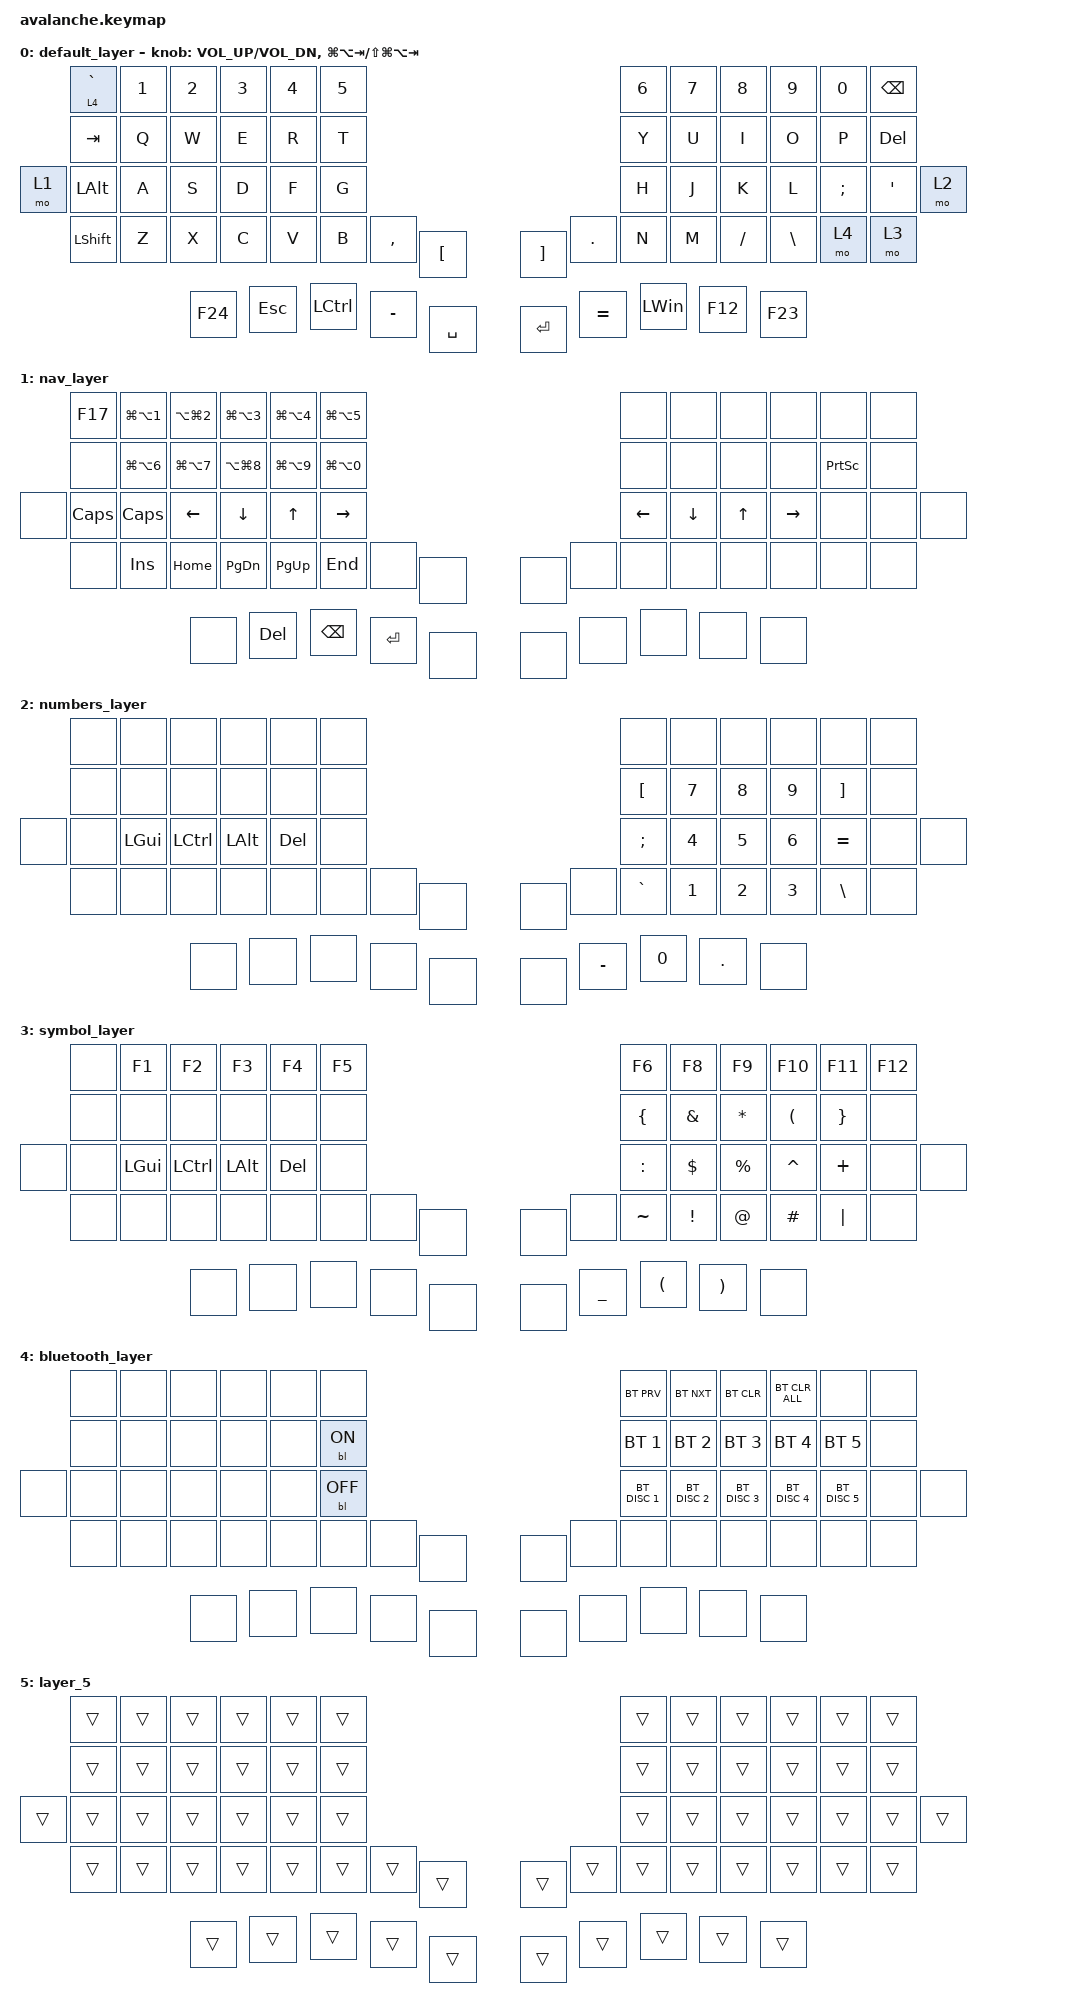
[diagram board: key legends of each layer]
#include <behaviors.dtsi>
#include <dt-bindings/zmk/backlight.h>
#include <dt-bindings/zmk/bt.h>
#include <dt-bindings/zmk/keys.h>

/ {
    behaviors {
        tdlayer: tdlayer {
            compatible = "zmk,behavior-hold-tap";
            #binding-cells = <2>;
            label = "tdlayer";
            bindings = <&mo>, <&kp>;

            tapping-term-ms = <125>;
        };

        volknob: volknob {
            compatible = "zmk,behavior-sensor-rotate";
            label = "VOLKNOB";
            #sensor-binding-cells = <0>;
            bindings = <&kp C_VOLUME_UP>, <&kp C_VOLUME_DOWN>;
        };
    };

    keymap {
        compatible = "zmk,keymap";

        /*
        &none  &none  &none  &none  &none  &none                                   &none  &none  &none  &none  &none  &none 
// ------------------------------------------------------------------------------------------------------------------------------------------------------------------------------------
        &none  &none  &none  &none  &none  &none                                   &none  &none  &none  &none  &none  &none 
// ------------------------------------------------------------------------------------------------------------------------------------------------------------------------------------
&none  &none  &none  &none  &none  &none  &none                                   &none  &none  &none  &none  &none  &none  &none 
// ------------------------------------------------------------------------------------------------------------------------------------------------------------------------------------
        &none  &none  &none  &none  &none  &none  &none  &none    &none &none  &none  &none  &none  &none  &none  &none 
// ------------------------------------------------------------------------------------------------------------------------------------------------------------------------------------
                                &none  &none  &none  &none  &none    &none &none  &none  &none  &none
*/

        default_layer {
            bindings = <
&tdlayer 4 GRAVE  &kp N1  &kp N2  &kp N3  &kp N4  &kp N5  &kp N6  &kp N7  &kp N8  &kp N9  &kp N0  &kp BACKSPACE  &kp TAB  &kp Q  &kp W  &kp E  &kp R  &kp T  &kp Y  &kp U  &kp I  &kp O  &kp P  &kp DEL  &mo 1  &kp LEFT_ALT  &kp A  &kp S  &kp D  &kp F  &kp G  &kp H  &kp J  &kp K  &kp L  &kp SEMI  &kp APOS  &mo 2  &kp LSHIFT  &kp Z  &kp X  &kp C  &kp V  &kp B  &kp COMMA  &kp LEFT_BRACKET  &kp RBKT  &kp PERIOD  &kp N  &kp M  &kp SLASH  &kp BACKSLASH  &mo 4  &mo 3  &kp F24  &kp ESCAPE  &kp LEFT_CONTROL  &kp MINUS  &kp SPACE  &kp RET  &kp EQUAL  &kp LEFT_WIN  &kp F12  &kp F23
            >;

            sensor-bindings = <&inc_dec_kp C_VOL_UP C_VOL_DN &inc_dec_kp LG(LA(TAB)) LS(LG(LA(TAB)))>;
        };

        nav_layer {
            bindings = <
&kp F17  &kp LG(LA(NUMBER_1))  &kp LA(LG(NUMBER_2))  &kp LG(LA(NUMBER_3))  &kp LG(LA(NUMBER_4))  &kp LG(LA(N5))  &none  &none  &none  &none  &none  &none  &none  &kp LG(LA(NUMBER_6))  &kp LG(LA(N7))  &kp LA(LG(N8))  &kp LG(LA(N9))  &kp LG(LA(N0))  &none  &none  &none  &none  &kp PRINTSCREEN  &none  &none  &kp CAPS  &kp CAPSLOCK  &kp LEFT  &kp DOWN  &kp UP  &kp RIGHT  &kp LEFT  &kp DOWN  &kp UP_ARROW  &kp RIGHT  &none  &none  &none  &none  &kp INSERT  &kp HOME  &kp PAGE_DOWN  &kp PAGE_UP  &kp END  &none  &none  &none  &none  &none  &none  &none  &none  &none  &none  &none  &kp DELETE  &kp BACKSPACE  &kp ENTER  &none  &none  &none  &none  &none  &none
            >;
        };

        numbers_layer {
            bindings = <
&none  &none  &none  &none  &none  &none  &none  &none  &none  &none  &none  &none  &none  &none  &none  &none  &none  &none  &kp LBKT  &kp N7  &kp N8  &kp N9  &kp RBKT  &none  &none  &none  &kp LEFT_GUI  &kp LEFT_CONTROL  &kp LEFT_ALT  &kp DELETE  &none  &kp SEMI  &kp N4  &kp N5  &kp N6  &kp EQUAL  &none  &none  &none  &none  &none  &none  &none  &none  &none  &none  &none  &none  &kp GRAVE  &kp N1  &kp N2  &kp N3  &kp BSLH  &none  &none  &none  &none  &none  &none  &none  &kp MINUS  &kp N0  &kp DOT  &none
            >;
        };

        symbol_layer {
            bindings = <
&none  &kp F1  &kp F2  &kp F3  &kp F4  &kp F5  &kp F6  &kp F8  &kp F9  &kp F10  &kp F11  &kp F12  &none  &none  &none  &none  &none  &none  &kp LEFT_BRACE  &kp AMPERSAND  &kp ASTERISK  &kp LEFT_PARENTHESIS  &kp RIGHT_BRACE  &none  &none  &none  &kp LGUI  &kp LCTRL  &kp LALT  &kp DELETE  &none  &kp COLON  &kp DOLLAR  &kp PERCENT  &kp CARET  &kp PLUS  &none  &none  &none  &none  &none  &none  &none  &none  &none  &none  &none  &none  &kp TILDE  &kp EXCLAMATION  &kp AT_SIGN  &kp HASH  &kp PIPE  &none  &none  &none  &none  &none  &none  &none  &kp UNDERSCORE  &kp LEFT_PARENTHESIS  &kp RIGHT_PARENTHESIS  &none
            >;
        };

        bluetooth_layer {
            bindings = <
&none  &none  &none  &none  &none  &none  &bt BT_PRV  &bt BT_NXT  &bt BT_CLR  &bt BT_CLR_ALL  &none  &none  &none  &none  &none  &none  &none  &bl BL_ON  &bt BT_SEL 1  &bt BT_SEL 2  &bt BT_SEL 3  &bt BT_SEL 4  &bt BT_SEL 5  &none  &none  &none  &none  &none  &none  &none  &bl BL_OFF  &bt BT_DISC 1  &bt BT_DISC 2  &bt BT_DISC 3  &bt BT_DISC 4  &bt BT_DISC 5  &none  &none  &none  &none  &none  &none  &none  &none  &none  &none  &none  &none  &none  &none  &none  &none  &none  &none  &none  &none  &none  &none  &none  &none  &none  &none  &none  &none
            >;
        };

        layer_5 {
            bindings = <
&trans  &trans  &trans  &trans  &trans  &trans  &trans  &trans  &trans  &trans  &trans  &trans  &trans  &trans  &trans  &trans  &trans  &trans  &trans  &trans  &trans  &trans  &trans  &trans  &trans  &trans  &trans  &trans  &trans  &trans  &trans  &trans  &trans  &trans  &trans  &trans  &trans  &trans  &trans  &trans  &trans  &trans  &trans  &trans  &trans  &trans  &trans  &trans  &trans  &trans  &trans  &trans  &trans  &trans  &trans  &trans  &trans  &trans  &trans  &trans  &trans  &trans  &trans  &trans
            >;
        };
    };
};
